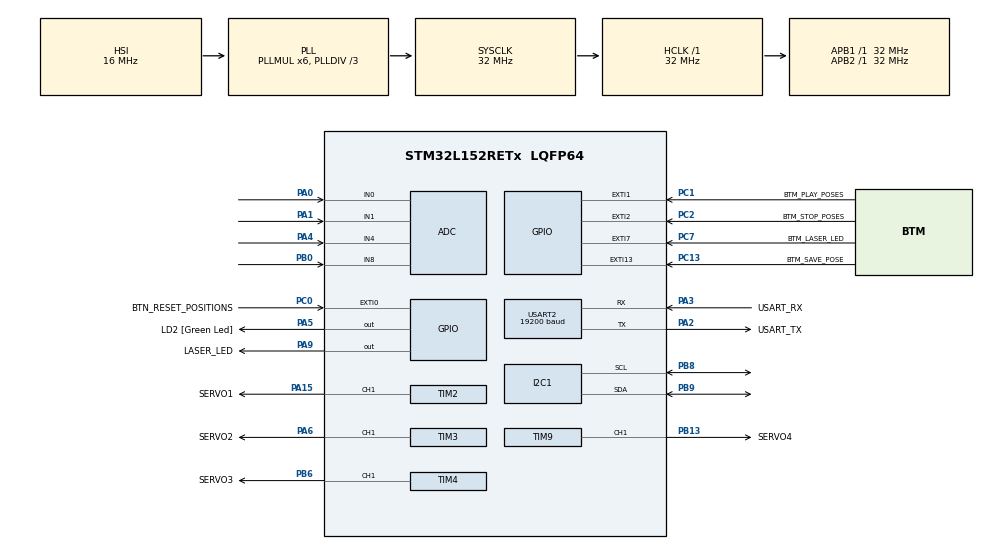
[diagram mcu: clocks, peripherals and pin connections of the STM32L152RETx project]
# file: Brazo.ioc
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ADC.Channel-0\#ChannelRegularConversion=ADC_CHANNEL_0
ADC.Channel-1\#ChannelRegularConversion=ADC_CHANNEL_1
ADC.Channel-2\#ChannelRegularConversion=ADC_CHANNEL_4
ADC.Channel-3\#ChannelRegularConversion=ADC_CHANNEL_8
ADC.ContinuousConvMode=ENABLE
ADC.DMAContinuousRequests=ENABLE
ADC.EOCSelection=ADC_EOC_SINGLE_CONV
ADC.EnableAnalogWatchDog=false
ADC.ExternalTrigConv=ADC_SOFTWARE_START
ADC.InjNumberOfConversion=0
ADC.NbrOfConversion=4
ADC.NbrOfConversionFlag=1
ADC.Rank-0\#ChannelRegularConversion=1
ADC.Rank-1\#ChannelRegularConversion=2
ADC.Rank-2\#ChannelRegularConversion=3
ADC.Rank-3\#ChannelRegularConversion=4
ADC.SamplingTime-0\#ChannelRegularConversion=ADC_SAMPLETIME_384CYCLES
ADC.SamplingTime-1\#ChannelRegularConversion=ADC_SAMPLETIME_384CYCLES
ADC.SamplingTime-2\#ChannelRegularConversion=ADC_SAMPLETIME_384CYCLES
ADC.SamplingTime-3\#ChannelRegularConversion=ADC_SAMPLETIME_384CYCLES
ADC.ScanConvMode=ADC_SCAN_ENABLE
Dma.ADC.0.Direction=DMA_PERIPH_TO_MEMORY
Dma.ADC.0.Instance=DMA1_Channel1
Dma.ADC.0.MemDataAlignment=DMA_MDATAALIGN_WORD
Dma.ADC.0.MemInc=DMA_MINC_ENABLE
Dma.ADC.0.Mode=DMA_CIRCULAR
Dma.ADC.0.PeriphDataAlignment=DMA_PDATAALIGN_WORD
Dma.ADC.0.PeriphInc=DMA_PINC_DISABLE
Dma.ADC.0.Priority=DMA_PRIORITY_LOW
Dma.Request0=ADC
I2C1.I2C_Mode=I2C_Standard
Mcu.Family=STM32L1
Mcu.Name=STM32L152RETx
Mcu.Package=LQFP64
NVIC.DMA1_Channel1_IRQn=true\:0\:2\:true\:false\:true\:false\:true
NVIC.EXTI0_IRQn=true\:0\:0\:false\:false\:true\:true\:true
NVIC.EXTI15_10_IRQn=true\:0\:0\:false\:false\:true\:true\:true
NVIC.EXTI1_IRQn=true\:0\:0\:false\:false\:true\:true\:true
NVIC.EXTI2_IRQn=true\:0\:0\:false\:false\:true\:true\:true
NVIC.EXTI9_5_IRQn=true\:0\:0\:false\:false\:true\:true\:true
NVIC.PriorityGroup=NVIC_PRIORITYGROUP_0
NVIC.TIM6_IRQn=true\:0\:0\:false\:false\:true\:true\:true
NVIC.TIM7_IRQn=true\:0\:0\:false\:false\:true\:true\:true
NVIC.USART2_IRQn=true\:0\:0\:false\:false\:true\:true\:true
PA0-WKUP1.Mode=IN0
PA0-WKUP1.Signal=ADC_IN0
PA1.Mode=IN1
PA1.Signal=ADC_IN1
PA13.GPIO_Label=TMS
PA13.Signal=SYS_JTMS-SWDIO
PA14.GPIO_Label=TCK
PA14.Signal=SYS_JTCK-SWCLK
PA15.GPIO_Label=SERVO1
PA15.GPIO_PuPd=GPIO_PULLUP
PA15.Signal=S_TIM2_CH1_ETR
PA2.GPIO_Label=USART_TX
PA2.Mode=Asynchronous
PA2.Signal=USART2_TX
PA3.GPIO_Label=USART_RX
PA3.Mode=Asynchronous
PA3.Signal=USART2_RX
PA4.Mode=IN4
PA4.Signal=ADC_IN4
PA5.GPIO_Label=LD2 [Green Led]
PA5.GPIO_PuPd=GPIO_NOPULL
PA5.Signal=GPIO_Output
PA6.GPIO_Label=SERVO2
PA6.GPIO_PuPd=GPIO_PULLUP
PA6.Signal=S_TIM3_CH1
PA9.GPIO_Label=LASER_LED
PA9.GPIO_PuPd=GPIO_PULLUP
PA9.GPIO_Speed=GPIO_SPEED_FREQ_MEDIUM
PA9.PinState=GPIO_PIN_RESET
PA9.Signal=GPIO_Output
PB0.Mode=IN8
PB0.Signal=ADC_IN8
PB13.GPIO_Label=SERVO4
PB13.Signal=S_TIM9_CH1
PB3.GPIO_Label=SWO
PB3.Signal=SYS_JTDO-TRACESWO
PB6.GPIO_Label=SERVO3
PB6.GPIO_PuPd=GPIO_PULLUP
PB6.Signal=S_TIM4_CH1
PB8.Mode=I2C
PB8.Signal=I2C1_SCL
PB9.Mode=I2C
PB9.Signal=I2C1_SDA
PC0.GPIO_Label=BTN_RESET_POSITIONS
PC0.GPIO_PuPd=GPIO_PULLUP
PC0.Signal=GPXTI0
PC1.GPIO_Label=BTM_PLAY_POSES
PC1.GPIO_PuPd=GPIO_PULLUP
PC1.Signal=GPXTI1
PC13-WKUP2.GPIO_Label=BTM_SAVE_POSE
PC13-WKUP2.Signal=GPXTI13
PC14-OSC32_IN.Mode=LSE-External-Oscillator
PC14-OSC32_IN.Signal=RCC_OSC32_IN
PC15-OSC32_OUT.Mode=LSE-External-Oscillator
PC15-OSC32_OUT.Signal=RCC_OSC32_OUT
PC2.GPIO_Label=BTM_STOP_POSES
PC2.GPIO_PuPd=GPIO_PULLUP
PC2.Signal=GPXTI2
PC7.GPIO_Label=BTM_LASER_LED
PC7.GPIO_PuPd=GPIO_PULLUP
PC7.Signal=GPXTI7
PH0-OSC_IN.Mode=HSE-External-Clock-Source
PH0-OSC_IN.Signal=RCC_OSC_IN
PH1-OSC_OUT.Signal=RCC_OSC_OUT
ProjectManager.HeapSize=0x200
ProjectManager.StackSize=0x400
ProjectManager.TargetToolchain=STM32CubeIDE
RCC.48MHZClocksFreq_Value=48000000
RCC.AHBFreq_Value=32000000
RCC.APB1Freq_Value=32000000
RCC.APB1TimFreq_Value=32000000
RCC.APB2Freq_Value=32000000
RCC.APB2TimFreq_Value=32000000
RCC.HCLKFreq_Value=32000000
RCC.HSE_VALUE=8000000
RCC.HSI_VALUE=16000000
RCC.MSI_VALUE=2097000
RCC.PLLDIV=RCC_PLL_DIV3
RCC.PLLMUL=RCC_PLL_MUL6
RCC.RTCClockSelectionVirtual=RCC_RTCCLKSOURCE_LSE
RCC.SYSCLKFreq_VALUE=32000000
RCC.SYSCLKSource=RCC_SYSCLKSOURCE_PLLCLK
RCC.USBOutput=48000000
RCC.VCOOutputFreq_Value=96000000
SH.S_TIM2_CH1_ETR.0=TIM2_CH1,PWM Generation1 CH1
SH.S_TIM3_CH1.0=TIM3_CH1,PWM Generation1 CH1
SH.S_TIM4_CH1.0=TIM4_CH1,PWM Generation1 CH1
SH.S_TIM9_CH1.0=TIM9_CH1,PWM Generation1 CH1
TIM2.AutoReloadPreload=TIM_AUTORELOAD_PRELOAD_ENABLE
TIM2.Channel-PWM\ Generation1\ CH1=TIM_CHANNEL_1
TIM2.Period=7000
TIM2.Prescaler=10
TIM3.Channel-PWM\ Generation1\ CH1=TIM_CHANNEL_1
TIM3.Period=7000
TIM3.Prescaler=10
TIM4.Channel-PWM\ Generation1\ CH1=TIM_CHANNEL_1
TIM4.Period=7000
TIM4.Prescaler=10
TIM6.AutoReloadPreload=TIM_AUTORELOAD_PRELOAD_ENABLE
TIM6.Period=65306
TIM6.Prescaler=196
TIM6.TIM_MasterOutputTrigger=TIM_TRGO_UPDATE
TIM7.AutoReloadPreload=TIM_AUTORELOAD_PRELOAD_ENABLE
TIM7.Period=65041
TIM7.Prescaler=123
TIM7.TIM_MasterOutputTrigger=TIM_TRGO_UPDATE
TIM9.Channel-PWM\ Generation1\ CH1=TIM_CHANNEL_1
TIM9.Period=7000
TIM9.Prescaler=10
USART2.BaudRate=19200
USART2.VirtualMode=VM_ASYNC
VP_ADC_Channel8SpeedLow.Mode=Channel8SpeedLow
VP_TIM2_VS_ClockSourceINT.Mode=Internal
VP_TIM3_VS_ClockSourceINT.Mode=Internal
VP_TIM4_VS_ClockSourceINT.Mode=Internal
VP_TIM6_VS_ClockSourceINT.Mode=Enable_Timer
VP_TIM7_VS_ClockSourceINT.Mode=Enable_Timer
VP_TIM9_VS_ClockSourceINT.Mode=Internal
board=NUCLEO-L152RE

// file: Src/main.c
/* USER CODE BEGIN Header */
/**
  ******************************************************************************
  * @file           : main.c
  * @brief          : Main program body
  ******************************************************************************
  * @attention
  *
  * <h2><center>&copy; Copyright (c) 2019 STMicroelectronics.
  * All rights reserved.</center></h2>
  *
  * This software component is licensed by ST under BSD 3-Clause license,
  * the "License"; You may not use this file except in compliance with the
  * License. You may obtain a copy of the License at:
  *                        opensource.org/licenses/BSD-3-Clause
  *
  ******************************************************************************
  */
/* USER CODE END Header */

#include "main.h"
#include "adc.h"
#include "dma.h"
#include "i2c.h"
#include "tim.h"
#include "usart.h"
#include "gpio.h"
#include "stdio.h"

/* USER CODE BEGIN PD */
uint32_t adc_to_dma_values[NUM_SERVOS]={0};
uint32_t adc_to_dma_lastvalues[NUM_SERVOS]={0};
uint32_t pose_counter = 0;
uint8_t playing;
uint32_t pose_actual=0;
char uart_recieve=0;
uint16_t uart_data=0;
uint8_t syncr_status=0;

/* USER CODE END PD */

void SystemClock_Config(void);
/* USER CODE BEGIN PFP */
#ifdef __GNUC__
/* With GCC, small printf (option LD Linker->Libraries->Small printf
   set to 'Yes') calls __io_putchar() */
#define PUTCHAR_PROTOTYPE int __io_putchar(int ch)
#define GETCHAR_PROTOTYPE int __io_getchar(void)
#else
#define PUTCHAR_PROTOTYPE int fputc(int ch, FILE *f)
#define GETCHAR_PROTOTYPE int fgetc(FILE *f)
#endif /* __GNUC__ */

/* USER CODE END PFP */

/* USER CODE BEGIN 0 */
void user_init();
void reset_positions();
void adc_dma_start_stop(int time);
void stop_adc_dma();
void default_position();
int get_dma_value_norm(int i);
void lcd_manager(uint8_t code, uint16_t servo_pose);
void HAL_UART_RxCpltCallback(UART_HandleTypeDef *huart);
//-----------UART_FUNC---------
PUTCHAR_PROTOTYPE
{
	HAL_UART_Transmit(&huart2, (uint8_t *)&ch, 1, 0xFFFF);
	return ch;
}

GETCHAR_PROTOTYPE
{
	char ch;
	HAL_UART_Receive(&huart2, (uint8_t *)&ch, 1, 0xFFFF);

	return ch;
}
//-----------UART_FUNC_END------------

/* USER CODE END 0 */

int main(void)
{

  /* MCU Configuration--------------------------------------------------------*/

  /* Reset of all peripherals, Initializes the Flash interface and the Systick. */
  HAL_Init();

  /* Configure the system clock */
  SystemClock_Config();

  /* Initialize all configured peripherals */
  MX_GPIO_Init();
  MX_DMA_Init();
  MX_USART2_UART_Init();
  MX_ADC_Init();
  MX_TIM2_Init();
  MX_TIM3_Init();
  MX_TIM4_Init();
  MX_TIM9_Init();
  MX_TIM7_Init();
  MX_I2C1_Init();
  MX_TIM6_Init();
  /* USER CODE BEGIN 2 */
  user_init();

  /* USER CODE END 2 */

  /* Infinite loop */
  while (1)
  {

    /* USER CODE BEGIN 3 */
check:  if(playing==1){
	  		static uint8_t ok_servo1=0;
	  		static uint8_t ok_servo2=0;
	  		static uint8_t ok_servo3=0;
	  		static uint8_t ok_servo4=0;
  	  		ok_servo1=0;
  			ok_servo2=0;
  			ok_servo3=0;
  			ok_servo4=0;

	  	  	for(pose_actual=0; pose_actual<pose_counter; pose_actual++){ //todas las posiciones guardadas

				//lcd mode playing
				lcd_manager(0, 1);

	  	  		if(playing==0){//si se pulsa stop se volvera a empezar desde el principio
	  	  			pose_actual=0;
	  	  			goto check;
	  	  		}
	  	  		//reset flag de la position terminada
	  	  		  uint8_t ok_servo1=0;
	  			  uint8_t ok_servo2=0;
	  			  uint8_t ok_servo3=0;
	  			  uint8_t ok_servo4=0;

	  			while(ok_servo1==0 || ok_servo2==0 || ok_servo3==0 || ok_servo4==0){
	  			  for(int servo=0; servo< NUM_SERVOS; servo++ ){
	  					switch(servo){
	  						case 0 :
	  							if(ok_servo1==0){
	  								if(TIM2->CCR1 != posiciones.servo1[pose_actual]){
	  									if(TIM2->CCR1 < posiciones.servo1[pose_actual]){
	  										TIM2->CCR1=TIM2->CCR1+1;
	  									}else if(TIM2->CCR1 > posiciones.servo1[pose_actual]){
	  										TIM2->CCR1=TIM2->CCR1-1;
	  										}
	  								}else if(TIM2->CCR1 == posiciones.servo1[pose_actual]){
	  									ok_servo1=1;
	  							    	}
	  							}else if(ok_servo1==1){
	  								break;
	  							}
	  							 break;
	  						case 1 :
	  							if(ok_servo2==0){
	  								if(TIM3->CCR1 != posiciones.servo2[pose_actual]){
	  									if(TIM3->CCR1 < posiciones.servo2[pose_actual]){
	  										TIM3->CCR1=TIM3->CCR1+1;
	  									}else if(TIM3->CCR1 > posiciones.servo2[pose_actual]){
	  										TIM3->CCR1=TIM3->CCR1-1;
	  										}
	  								}else if(TIM3->CCR1 == posiciones.servo2[pose_actual]){
	  									ok_servo2=1;

	  							    	}
	  							}else if(ok_servo2==1){
	  								break;
	  							}
	  							 break;
	  						case 2 :
	  							if(ok_servo3==0){
	  								if(TIM4->CCR1 != posiciones.servo3[pose_actual]){
	  									if(TIM4->CCR1 < posiciones.servo3[pose_actual]){
	  										TIM4->CCR1=TIM4->CCR1+1;
	  									}else if(TIM4->CCR1 > posiciones.servo3[pose_actual]){
	  										TIM4->CCR1=TIM4->CCR1-1;
	  										}
	  								}else if(TIM4->CCR1 == posiciones.servo3[pose_actual]){
	  									ok_servo3=1;
	  							    	}
	  							}else if(ok_servo3==1){
	  								break;
	  							}
	  							 break;
	  						case 3 :
	  							if(ok_servo4==0){
	  								if(TIM9->CCR1 != posiciones.servo4[pose_actual]){
	  									if(TIM9->CCR1 < posiciones.servo4[pose_actual]){
	  										TIM9->CCR1=TIM9->CCR1+1;
	  									}else if(TIM9->CCR1 > posiciones.servo4[pose_actual]){
	  										TIM9->CCR1=TIM9->CCR1-1;
	  										}
	  								}else if(TIM9->CCR1 == posiciones.servo4[pose_actual]){
	  									ok_servo4=1;
	  							    	}
	  							}else if(ok_servo4==1){
	  								break;
	  							}
	  							 break;
	  						default:
	  							servo=0;
	  							 break;

	  					}//switch
	  				}//for all servos
					for(int time=0; time< PLAYING_DELAY;time++){//tiempo-> smooth servos movement
						if(playing==0){//si se pulsa stop se volvera a empezar desde el principio
							 pose_actual=0;
							goto check;
						}
					}
	  			}//while not ok_posex
	  	  	}//for all poses
	  }//if playing
}//bucle while
  /* USER CODE END 3 */
}

void SystemClock_Config(void)
{
  RCC_OscInitTypeDef RCC_OscInitStruct = {0};
  RCC_ClkInitTypeDef RCC_ClkInitStruct = {0};

  /** Configure the main internal regulator output voltage
  */
  __HAL_PWR_VOLTAGESCALING_CONFIG(PWR_REGULATOR_VOLTAGE_SCALE1);
  /** Initializes the CPU, AHB and APB busses clocks
  */
  RCC_OscInitStruct.OscillatorType = RCC_OSCILLATORTYPE_HSI;
  RCC_OscInitStruct.HSIState = RCC_HSI_ON;
  RCC_OscInitStruct.HSICalibrationValue = RCC_HSICALIBRATION_DEFAULT;
  RCC_OscInitStruct.PLL.PLLState = RCC_PLL_ON;
  RCC_OscInitStruct.PLL.PLLSource = RCC_PLLSOURCE_HSI;
  RCC_OscInitStruct.PLL.PLLMUL = RCC_PLL_MUL6;
  RCC_OscInitStruct.PLL.PLLDIV = RCC_PLL_DIV3;
  if (HAL_RCC_OscConfig(&RCC_OscInitStruct) != HAL_OK)
  {
    Error_Handler();
  }
  /** Initializes the CPU, AHB and APB busses clocks
  */
  RCC_ClkInitStruct.ClockType = RCC_CLOCKTYPE_HCLK|RCC_CLOCKTYPE_SYSCLK
                              |RCC_CLOCKTYPE_PCLK1|RCC_CLOCKTYPE_PCLK2;
  RCC_ClkInitStruct.SYSCLKSource = RCC_SYSCLKSOURCE_PLLCLK;
  RCC_ClkInitStruct.AHBCLKDivider = RCC_SYSCLK_DIV1;
  RCC_ClkInitStruct.APB1CLKDivider = RCC_HCLK_DIV1;
  RCC_ClkInitStruct.APB2CLKDivider = RCC_HCLK_DIV1;

  if (HAL_RCC_ClockConfig(&RCC_ClkInitStruct, FLASH_LATENCY_1) != HAL_OK)
  {
    Error_Handler();
  }
}

/* USER CODE BEGIN 4 */
void user_init(void){

//limpiar la memoria de posiciones

	lcd_init();
	lcd_clear();
	lcd_send_string("Hello there!");
	lcd_print_x_y(2, 0, "proyect: Robot Arm");
	lcd_print_x_y(3, 0, "by: Sergio and David");
//posicion inicial para evitar choques

	default_position();
	playing=0;
//encender adc y DMA

	//aqui "adc_to_dma_values" es el buffer
	//donde el dma va a guardar las conversiones del adc

	HAL_ADC_Start_DMA(&hadc,adc_to_dma_values,NUM_SERVOS);

//encender servos (timers)

	HAL_TIM_PWM_Start(&htim2, TIM_CHANNEL_1);
	HAL_TIM_PWM_Start(&htim3, TIM_CHANNEL_1);
	HAL_TIM_PWM_Start(&htim4, TIM_CHANNEL_1);
	HAL_TIM_PWM_Start(&htim9, TIM_CHANNEL_1);
//canvas inicial

	HAL_Delay(2000);
	lcd_manager(2, 0);
//el timer 7 es para coger valores de forma periodica en el
//dma por el adc
	HAL_TIM_Base_Start(&htim7);
	HAL_TIM_Base_Start_IT(&htim7);
//el timer 6 es para actualizar los valores del lcd prediodicamente
//evita retrasos en la ejecucion de funciones como el posicionamineto de servos
//*el timer 6 tambien es: debouncer reset (usado en el record BTM y laser led BTM)
	HAL_TIM_Base_Start(&htim6);
	HAL_TIM_Base_Start_IT(&htim6);
// Habilitamos poder recibir datos del uart para guardar o cargar las posiciones
	HAL_UART_Receive_IT(&huart2, &uart_recieve, sizeof(uint8_t));

}

//-----------------FUNIONES_PROPIAS------------------

void reset_positions(void){
	for(int i = 0; i<MAX_POSES ;i++){
		posiciones.servo1[i]=0;
		posiciones.servo2[i]=0;
		posiciones.servo3[i]=0;
		posiciones.servo4[i]=0;
		pose_counter=0;
	}
}

void default_position(void){
	TIM2->CCR1=1100;
	TIM3->CCR1=1100;
	TIM4->CCR1=1100;
	TIM9->CCR1=1100;
}

void adc_dma_start_stop(int time){

	if (time==0){
		HAL_ADC_Start_DMA(&hadc,adc_to_dma_values,NUM_SERVOS);
	}else{
		HAL_ADC_Start_DMA(&hadc,adc_to_dma_values,NUM_SERVOS);
		for(int i = 0 ; i<time ; i++){
			// wait x time
		}
		HAL_ADC_Stop_DMA(&hadc);
	}
}
void stop_adc_dma(void){
	HAL_ADC_Stop_DMA(&hadc);
}

int get_dma_value_norm(int i){
	if(i>NUM_SERVOS){
		return 0;
	}
	//la recta es adc*1,3+1500
	return ((adc_to_dma_values[i]*13)/10+1500);

}
//--------------lcd--manager----------------
void lcd_manager(uint8_t code, uint16_t code_value){

	switch (code) {
	case 0: //modo: 0 code_value recording 0 - playing 1 - saved pose 2 - stopped 3-
		switch (code_value) {
		case 0:
			lcd_print_x_y(0,0,"                    ");//clear line 1
			lcd_print_x_y(0, 0, "MODE: recording");
			lcd_print_x_y(1,0,"                    ");//clear line 1
			lcd_print_x_y(1,0,"saved poses:");
			lcd_send_number(1, 13, pose_counter);
			break;
		case 1:
			lcd_print_x_y(0,0,"                    ");//clear line 1
			lcd_print_x_y(0, 0, "MODE: playing");
			lcd_print_x_y(1,0,"                    ");//clear line 1
			lcd_print_x_y(1,0,"playing:");
			lcd_send_number(1, 9, pose_actual);
			lcd_print_x_y(1, 12, "of ");
			lcd_send_number(1, 14, pose_counter);
			break;
		case 2:
			lcd_print_x_y(0,0,"                    ");//clear line 1
			lcd_print_x_y(0, 0, "MODE: pose saved! ");
			lcd_print_x_y(1,0,"                    ");//clear line 1
			lcd_print_x_y(1,0,"saved poses:");
			lcd_send_number(1, 13, pose_counter);

			break;
		case 3:
			lcd_print_x_y(0, 0, "MODE: stopped!!");
			break;
		case 4:
			lcd_print_x_y(0, 0, "MODE: load_pc");
			break;
		case 5:
			lcd_print_x_y(0, 0, "MODE: saved_pc");
			break;
		case 6://reset poses -> recording poses
			lcd_print_x_y(0,0,"                    ");//clear line 1
			lcd_print_x_y(0, 0, "MODE: deleted poses!");
			lcd_print_x_y(1,0,"                    ");//clear line 1
			lcd_print_x_y(1,0,"saved poses:");
			lcd_send_number(1, 13, pose_counter);
			break;
		case 7:
			lcd_print_x_y(0,0,"                    ");//clear line 1
			lcd_print_x_y(0, 0, "MODE: UART SENT");
			break;
		case 8:
			lcd_print_x_y(0,0,"                    ");//clear line 1
			lcd_print_x_y(0, 0, "MODE: UART PC->MICRO");
			break;
		default:
			break;
		}
		break;
	case 1:
		lcd_print_x_y(2, 0, "s1:");
		lcd_send_number(2, 4, TIM2->CCR1);
		//servo2
		lcd_print_x_y(2, 9, "s2:");
		lcd_send_number(2, 13, TIM3->CCR1);
		//servo3
		lcd_print_x_y(3, 0, "s3:");
		lcd_send_number(3, 4, TIM4->CCR1);
		//servo4
		lcd_print_x_y(3, 9, "s4:");
		lcd_send_number(3, 13, TIM9->CCR1);
		break;
	case 2: //canvas inicial
		lcd_clear();
		lcd_print_x_y(0, 0, "MODE: LOADING...");
		lcd_print_x_y(1,0,"saved poses:");
		lcd_print_x_y(2, 0, "s1:");
		lcd_print_x_y(2, 9, "s2:");
		lcd_print_x_y(3, 0, "s3:");
		lcd_print_x_y(3, 9, "s4:");

		break;
	case 3: //error
		lcd_clear();
		lcd_print_x_y(0, 0, "MODE: ERROR");
		break;
	default:
		break;
	}
}
void HAL_UART_RxCpltCallback(UART_HandleTypeDef *huart) {

	//ENVIA LA INFORMACION
	if(uart_recieve!='\n' && (uart_recieve=='s'||uart_recieve=='S')){
		HAL_TIM_Base_Stop(&htim6);
		HAL_TIM_Base_Stop_IT(&htim6);
		lcd_manager(0, 7);
		//printf("saved poses %d \r\n",pose_counter);
		printf("%d \r\n",pose_counter);
		if(playing==0){
			for(int pose=0;pose<pose_counter;pose++){
				printf("%d,%d,%d,%d\r\n",posiciones.servo1[pose],posiciones.servo2[pose],posiciones.servo3[pose],posiciones.servo4[pose]);
			}
		}
		HAL_TIM_Base_Start(&htim6);
		HAL_TIM_Base_Start_IT(&htim6);
	}else if(uart_recieve!='\n' && (uart_recieve=='l'||uart_recieve=='L')){

		HAL_UART_Receive(&huart2,&uart_data, sizeof(uart_data),50);

		pose_counter=uart_data;
		pose_actual=0;//creo que esto sobra

		for(int data=0;data<pose_counter;data++){
			HAL_UART_Receive(&huart2,&uart_data, sizeof(uart_data),50);
			posiciones.servo1[data]=uart_data;
			HAL_UART_Receive(&huart2,&uart_data, sizeof(uart_data),50);
			posiciones.servo2[data]=uart_data;
			HAL_UART_Receive(&huart2,&uart_data, sizeof(uart_data),50);
			posiciones.servo3[data]=uart_data;
			HAL_UART_Receive(&huart2,&uart_data, sizeof(uart_data),50);
			posiciones.servo4[data]=uart_data;
		}
		syncr_status=0;
		lcd_manager(0,8);

	}

	HAL_UART_Receive_IT(&huart2, &uart_recieve, sizeof(uint8_t));

}
//----------------------------------------------------
/* USER CODE END 4 */

void Error_Handler(void)
{
}

/************************ (C) COPYRIGHT STMicroelectronics *****END OF FILE****/
